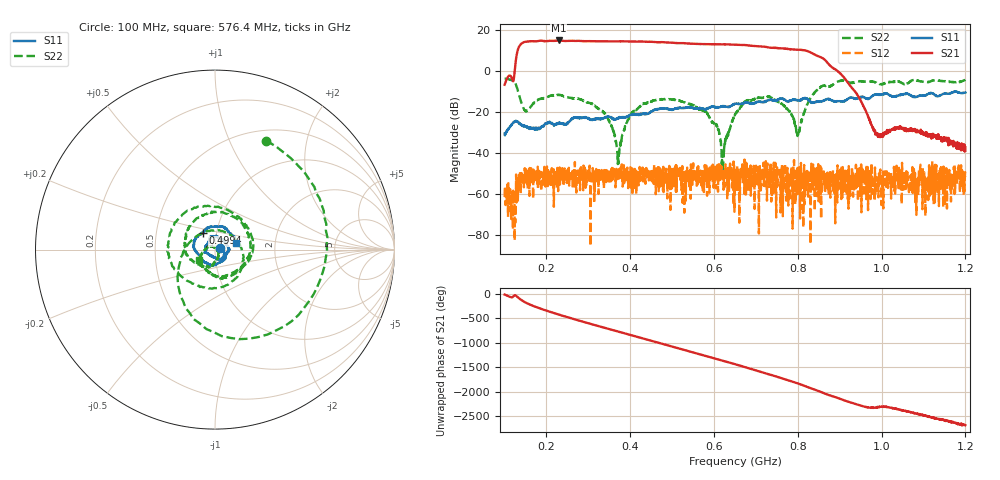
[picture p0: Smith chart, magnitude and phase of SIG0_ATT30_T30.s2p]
# Hz S DB R 50
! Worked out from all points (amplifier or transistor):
!   1601 points, 100 MHz to 1.2 GHz, reference 50 ohm
!   highest |S21| = 15.1 dB at 229.2 MHz (marker M1)
!   |S21| within 3 dB of that: 134.6 MHz to 718.7 MHz (584.1 MHz wide, 137 % of centre) (the widest 1 of 2)
!   unconditionally stable (mu >= 1): start of sweep to end of sweep
!   at 282.9 MHz: K = 33.77, MAG = 15.1 dB, |S12| = -51.9 dB
!   at 650 MHz: K = 57.60, MAG = 13.2 dB, |S12| = -54.6 dB
!   at 1.2 GHz: K = 8668.77, MAG = -36.0 dB, |S12| = -51.3 dB
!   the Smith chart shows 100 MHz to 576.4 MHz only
!   S11 on the Smith chart (normalised r, x): 100 MHz: 1.06, +0.02; 499.4 MHz: 0.86, +0.16; 576.4 MHz: 1.26, +0.09
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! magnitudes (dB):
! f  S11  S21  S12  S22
! 100 MHz  -30.3  -6.5  -61.2  -3.5
! 121.3 MHz  -24.7  -4.5  -61.1  -4.7
! 141.2 MHz  -26.4  13.7  -50.2  -15.9
! 229.2 MHz  -25.3  15.1  -53.2  -11.5
! 283.6 MHz  -22.8  14.8  -49.2  -13.8
! 341.3 MHz  -22.3  14.7  -52.7  -21.1
! 372.2 MHz  -22.4  14.7  -47.7  -41.9
! 403.2 MHz  -21.2  14.6  -50.7  -20.1
! 467.1 MHz  -18.5  14.3  -45.4  -13.8
! 499.4 MHz  -18.9  14.0  -47.3  -13.6
! 576.4 MHz  -18.4  13.3  -51.0  -19.4
! 607.4 MHz  -17.3  13.3  -45.7  -26.6
! 620.4 MHz  -16.9  13.2  -48.1  -44.6
! 650 MHz  -15.9  13.0  -54.6  -20.9
! 733.9 MHz  -13.8  11.6  -55.6  -12.4
! 778.6 MHz  -14.7  10.9  -50.7  -19.2
! 801.2 MHz  -14.2  10.6  -52.1  -28.8
! 833.6 MHz  -15.4  9.0  -48.7  -11.9
! 911.2 MHz  -14.4  -3.2  -50.2  -4.6
! 987.6 MHz  -11.1  -30.7  -52.9  -5.5
! 1.017 GHz  -11.3  -29.6  -49.6  -5.1
! 1.2 GHz  -10.3  -38.6  -51.3  -4.1
